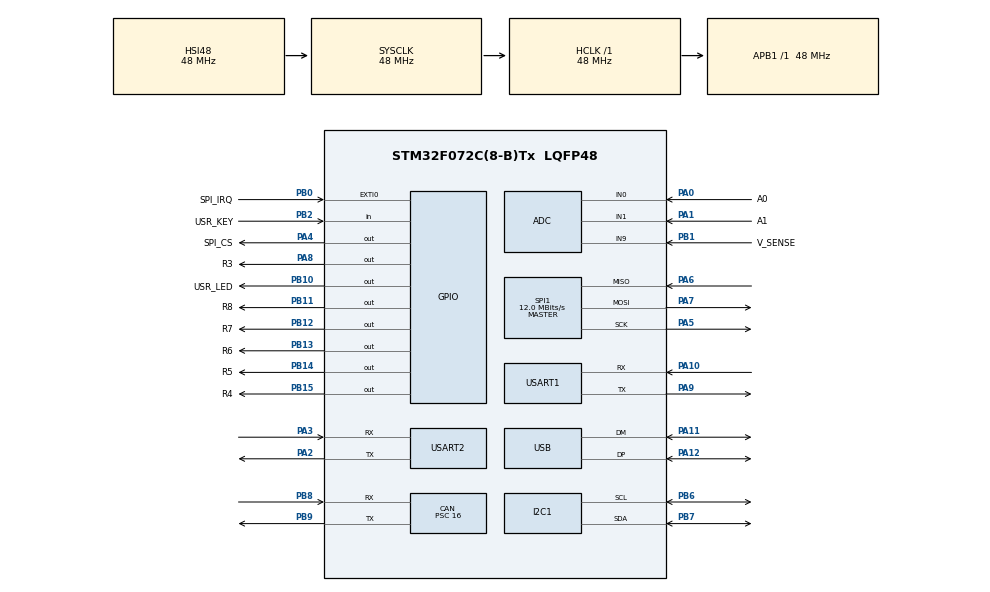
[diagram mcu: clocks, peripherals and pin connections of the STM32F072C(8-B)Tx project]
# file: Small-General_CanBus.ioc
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ADC.ContinuousConvMode=DISABLE
CAN.CalculateBaudRate=1000000
CAN.CalculateTimeBit=1000
CAN.CalculateTimeQuantum=333.3333333333333
CAN.Mode=CAN_MODE_NORMAL
CAN.Prescaler=16
CAN.TTCM=DISABLE
Mcu.Family=STM32F0
Mcu.Name=STM32F072C(8-B)Tx
Mcu.Package=LQFP48
NVIC.USB_IRQn=true\:0\:0\:false\:false\:true\:false\:true\:true
PA0.GPIO_Label=A0
PA0.Mode=IN0
PA0.Signal=ADC_IN0
PA1.GPIO_Label=A1
PA1.Mode=IN1
PA1.Signal=ADC_IN1
PA10.Mode=Asynchronous
PA10.Signal=USART1_RX
PA11.Mode=Device
PA11.Signal=USB_DM
PA12.Mode=Device
PA12.Signal=USB_DP
PA13.Mode=Serial_Wire
PA13.Signal=SYS_SWDIO
PA14.Mode=Serial_Wire
PA14.Signal=SYS_SWCLK
PA2.Mode=Asynchronous
PA2.Signal=USART2_TX
PA3.Mode=Asynchronous
PA3.Signal=USART2_RX
PA4.GPIO_Label=SPI_CS
PA4.GPIO_PuPd=GPIO_PULLUP
PA4.GPIO_Speed=GPIO_SPEED_FREQ_HIGH
PA4.PinState=GPIO_PIN_SET
PA4.Signal=GPIO_Output
PA5.Mode=Full_Duplex_Master
PA5.Signal=SPI1_SCK
PA6.Mode=Full_Duplex_Master
PA6.Signal=SPI1_MISO
PA7.Mode=Full_Duplex_Master
PA7.Signal=SPI1_MOSI
PA8.GPIO_Label=R3
PA8.Signal=GPIO_Output
PA9.Mode=Asynchronous
PA9.Signal=USART1_TX
PB0.GPIO_Label=SPI_IRQ
PB0.GPIO_ModeDefaultEXTI=GPIO_MODE_IT_RISING_FALLING
PB0.Signal=GPXTI0
PB1.GPIO_Label=V_SENSE
PB1.Mode=IN9
PB1.Signal=ADC_IN9
PB10.GPIO_Label=USR_LED
PB10.GPIO_ModeDefaultOutputPP=GPIO_MODE_OUTPUT_OD
PB10.GPIO_PuPd=GPIO_NOPULL
PB10.Signal=GPIO_Output
PB11.GPIO_Label=R8
PB11.Signal=GPIO_Output
PB12.GPIO_Label=R7
PB12.Signal=GPIO_Output
PB13.GPIO_Label=R6
PB13.Signal=GPIO_Output
PB14.GPIO_Label=R5
PB14.Signal=GPIO_Output
PB15.GPIO_Label=R4
PB15.Signal=GPIO_Output
PB2.GPIO_Label=USR_KEY
PB2.Signal=GPIO_Input
PB6.Mode=I2C
PB6.Signal=I2C1_SCL
PB7.Mode=I2C
PB7.Signal=I2C1_SDA
PB8.Mode=CAN_Activate
PB8.Signal=CAN_RX
PB9.Mode=CAN_Activate
PB9.Signal=CAN_TX
ProjectManager.HeapSize=0x200
ProjectManager.StackSize=0x400
ProjectManager.TargetToolchain=STM32CubeIDE
RCC.AHBFreq_Value=48000000
RCC.APB1Freq_Value=48000000
RCC.APB1TimFreq_Value=48000000
RCC.HCLKFreq_Value=48000000
RCC.SYSCLKFreq_VALUE=48000000
RCC.SYSCLKSource=RCC_SYSCLKSOURCE_HSI48
SPI1.BaudRatePrescaler=SPI_BAUDRATEPRESCALER_4
SPI1.CalculateBaudRate=12.0 MBits/s
SPI1.Direction=SPI_DIRECTION_2LINES
SPI1.Mode=SPI_MODE_MASTER
SPI1.VirtualType=VM_MASTER
USART1.VirtualMode-Asynchronous=VM_ASYNC
USART2.VirtualMode-Asynchronous=VM_ASYNC
USB_DEVICE.CLASS_NAME_FS=CDC
USB_DEVICE.MANUFACTURER_STRING=NVF2
USB_DEVICE.PRODUCT_STRING_CDC_FS=Small-General
USB_DEVICE.VirtualMode=Cdc
USB_DEVICE.VirtualModeFS=Cdc_FS
VP_ADC_TempSens_Input.Mode=IN-TempSens
VP_USB_DEVICE_VS_USB_DEVICE_CDC_FS.Mode=CDC_FS
board=custom

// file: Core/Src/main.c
/* USER CODE BEGIN Header */
/**
 ******************************************************************************
 * @file           : main.c
 * @brief          : Main program body
 ******************************************************************************
 * @attention
 *
 * Copyright (c) 2024 STMicroelectronics.
 * All rights reserved.
 *
 * This software is licensed under terms that can be found in the LICENSE file
 * in the root directory of this software component.
 * If no LICENSE file comes with this software, it is provided AS-IS.
 *
 ******************************************************************************
 */
/* USER CODE END Header */
#include "main.h"
#include "usb_device.h"

/* USER CODE BEGIN Includes */

#include "usbd_cdc_if.h"

/* USER CODE END Includes */

ADC_HandleTypeDef hadc;

CAN_HandleTypeDef hcan;

I2C_HandleTypeDef hi2c1;

SPI_HandleTypeDef hspi1;

UART_HandleTypeDef huart1;
UART_HandleTypeDef huart2;

/* USER CODE BEGIN PV */

CAN_TxHeaderTypeDef canTxHeader;
CAN_RxHeaderTypeDef canRxHeader;
uint32_t canTxMailBox;

uint32_t rx_data[8];
uint32_t tx_data[8];

CAN_FilterTypeDef sFilterConfig;

/* USER CODE END PV */

void SystemClock_Config(void);
static void MX_GPIO_Init(void);
static void MX_ADC_Init(void);
static void MX_CAN_Init(void);
static void MX_I2C1_Init(void);
static void MX_SPI1_Init(void);
static void MX_USART1_UART_Init(void);
static void MX_USART2_UART_Init(void);

int main(void)
{

  /* MCU Configuration--------------------------------------------------------*/

  /* Reset of all peripherals, Initializes the Flash interface and the Systick. */
  HAL_Init();

  /* Configure the system clock */
  SystemClock_Config();

  /* Initialize all configured peripherals */
  MX_GPIO_Init();
  MX_ADC_Init();
  MX_CAN_Init();
  MX_I2C1_Init();
  MX_SPI1_Init();
  MX_USART1_UART_Init();
  MX_USART2_UART_Init();
  MX_USB_DEVICE_Init();
  /* USER CODE BEGIN 2 */

  canTxHeader.DLC = 1;
  canTxHeader.IDE = CAN_ID_STD;
  canTxHeader.RTR = CAN_RTR_DATA;
  canTxHeader.StdId = 0x244;

  sFilterConfig.FilterFIFOAssignment = CAN_FILTER_FIFO0; // set fifo assignment
  sFilterConfig.FilterIdHigh =0xFF;               // the ID that the filter looks for (switch this for the other microcontroller)
  sFilterConfig.FilterIdLow = 0X00;
  sFilterConfig.FilterMaskIdHigh = 0;
  sFilterConfig.FilterMaskIdLow = 0;
  sFilterConfig.FilterScale = CAN_FILTERSCALE_32BIT; // set filter scale
  sFilterConfig.FilterActivation = ENABLE;

  HAL_CAN_ConfigFilter(&hcan, &canRxFilterConfig);

  HAL_CAN_Start(&hcan);
//  HAL_CAN_ActivateNotification(&hcan, CAN_IT_RX_FIFO0_MSG_PENDING);

  /* USER CODE END 2 */

  /* Infinite loop */
  while (1)
  {

	  if (HAL)

  }
}

void SystemClock_Config(void)
{
  RCC_OscInitTypeDef RCC_OscInitStruct = {0};
  RCC_ClkInitTypeDef RCC_ClkInitStruct = {0};
  RCC_PeriphCLKInitTypeDef PeriphClkInit = {0};

  /** Initializes the RCC Oscillators according to the specified parameters
   * in the RCC_OscInitTypeDef structure.
   */
  RCC_OscInitStruct.OscillatorType = RCC_OSCILLATORTYPE_HSI | RCC_OSCILLATORTYPE_HSI14 | RCC_OSCILLATORTYPE_HSI48;
  RCC_OscInitStruct.HSIState = RCC_HSI_ON;
  RCC_OscInitStruct.HSI48State = RCC_HSI48_ON;
  RCC_OscInitStruct.HSI14State = RCC_HSI14_ON;
  RCC_OscInitStruct.HSICalibrationValue = RCC_HSICALIBRATION_DEFAULT;
  RCC_OscInitStruct.HSI14CalibrationValue = 16;
  RCC_OscInitStruct.PLL.PLLState = RCC_PLL_NONE;
  if (HAL_RCC_OscConfig(&RCC_OscInitStruct) != HAL_OK)
  {
    Error_Handler();
  }

  /** Initializes the CPU, AHB and APB buses clocks
   */
  RCC_ClkInitStruct.ClockType = RCC_CLOCKTYPE_HCLK | RCC_CLOCKTYPE_SYSCLK | RCC_CLOCKTYPE_PCLK1;
  RCC_ClkInitStruct.SYSCLKSource = RCC_SYSCLKSOURCE_HSI48;
  RCC_ClkInitStruct.AHBCLKDivider = RCC_SYSCLK_DIV1;
  RCC_ClkInitStruct.APB1CLKDivider = RCC_HCLK_DIV1;

  if (HAL_RCC_ClockConfig(&RCC_ClkInitStruct, FLASH_LATENCY_1) != HAL_OK)
  {
    Error_Handler();
  }
  PeriphClkInit.PeriphClockSelection = RCC_PERIPHCLK_USB | RCC_PERIPHCLK_USART1 | RCC_PERIPHCLK_USART2 | RCC_PERIPHCLK_I2C1;
  PeriphClkInit.Usart1ClockSelection = RCC_USART1CLKSOURCE_PCLK1;
  PeriphClkInit.Usart2ClockSelection = RCC_USART2CLKSOURCE_PCLK1;
  PeriphClkInit.I2c1ClockSelection = RCC_I2C1CLKSOURCE_HSI;
  PeriphClkInit.UsbClockSelection = RCC_USBCLKSOURCE_HSI48;

  if (HAL_RCCEx_PeriphCLKConfig(&PeriphClkInit) != HAL_OK)
  {
    Error_Handler();
  }
}

static void MX_ADC_Init(void)
{

  ADC_ChannelConfTypeDef sConfig = {0};

  /** Configure the global features of the ADC (Clock, Resolution, Data Alignment and number of conversion)
   */
  hadc.Instance = ADC1;
  hadc.Init.ClockPrescaler = ADC_CLOCK_ASYNC_DIV1;
  hadc.Init.Resolution = ADC_RESOLUTION_12B;
  hadc.Init.DataAlign = ADC_DATAALIGN_RIGHT;
  hadc.Init.ScanConvMode = ADC_SCAN_DIRECTION_FORWARD;
  hadc.Init.EOCSelection = ADC_EOC_SINGLE_CONV;
  hadc.Init.LowPowerAutoWait = DISABLE;
  hadc.Init.LowPowerAutoPowerOff = DISABLE;
  hadc.Init.ContinuousConvMode = DISABLE;
  hadc.Init.DiscontinuousConvMode = DISABLE;
  hadc.Init.ExternalTrigConv = ADC_SOFTWARE_START;
  hadc.Init.ExternalTrigConvEdge = ADC_EXTERNALTRIGCONVEDGE_NONE;
  hadc.Init.DMAContinuousRequests = DISABLE;
  hadc.Init.Overrun = ADC_OVR_DATA_PRESERVED;
  if (HAL_ADC_Init(&hadc) != HAL_OK)
  {
    Error_Handler();
  }

  /** Configure for the selected ADC regular channel to be converted.
   */
  sConfig.Channel = ADC_CHANNEL_0;
  sConfig.Rank = ADC_RANK_CHANNEL_NUMBER;
  sConfig.SamplingTime = ADC_SAMPLETIME_1CYCLE_5;
  if (HAL_ADC_ConfigChannel(&hadc, &sConfig) != HAL_OK)
  {
    Error_Handler();
  }

  /** Configure for the selected ADC regular channel to be converted.
   */
  sConfig.Channel = ADC_CHANNEL_1;
  if (HAL_ADC_ConfigChannel(&hadc, &sConfig) != HAL_OK)
  {
    Error_Handler();
  }

  /** Configure for the selected ADC regular channel to be converted.
   */
  sConfig.Channel = ADC_CHANNEL_9;
  if (HAL_ADC_ConfigChannel(&hadc, &sConfig) != HAL_OK)
  {
    Error_Handler();
  }

  /** Configure for the selected ADC regular channel to be converted.
   */
  sConfig.Channel = ADC_CHANNEL_TEMPSENSOR;
  if (HAL_ADC_ConfigChannel(&hadc, &sConfig) != HAL_OK)
  {
    Error_Handler();
  }
}

static void MX_CAN_Init(void)
{

  hcan.Instance = CAN;
  hcan.Init.Prescaler = 16;
  hcan.Init.Mode = CAN_MODE_NORMAL;
  hcan.Init.SyncJumpWidth = CAN_SJW_1TQ;
  hcan.Init.TimeSeg1 = CAN_BS1_1TQ;
  hcan.Init.TimeSeg2 = CAN_BS2_1TQ;
  hcan.Init.TimeTriggeredMode = DISABLE;
  hcan.Init.AutoBusOff = DISABLE;
  hcan.Init.AutoWakeUp = DISABLE;
  hcan.Init.AutoRetransmission = DISABLE;
  hcan.Init.ReceiveFifoLocked = DISABLE;
  hcan.Init.TransmitFifoPriority = DISABLE;
  if (HAL_CAN_Init(&hcan) != HAL_OK)
  {
    Error_Handler();
  }
}

static void MX_I2C1_Init(void)
{

  hi2c1.Instance = I2C1;
  hi2c1.Init.Timing = 0x2000090E;
  hi2c1.Init.OwnAddress1 = 0;
  hi2c1.Init.AddressingMode = I2C_ADDRESSINGMODE_7BIT;
  hi2c1.Init.DualAddressMode = I2C_DUALADDRESS_DISABLE;
  hi2c1.Init.OwnAddress2 = 0;
  hi2c1.Init.OwnAddress2Masks = I2C_OA2_NOMASK;
  hi2c1.Init.GeneralCallMode = I2C_GENERALCALL_DISABLE;
  hi2c1.Init.NoStretchMode = I2C_NOSTRETCH_DISABLE;
  if (HAL_I2C_Init(&hi2c1) != HAL_OK)
  {
    Error_Handler();
  }

  /** Configure Analogue filter
   */
  if (HAL_I2CEx_ConfigAnalogFilter(&hi2c1, I2C_ANALOGFILTER_ENABLE) != HAL_OK)
  {
    Error_Handler();
  }

  /** Configure Digital filter
   */
  if (HAL_I2CEx_ConfigDigitalFilter(&hi2c1, 0) != HAL_OK)
  {
    Error_Handler();
  }
}

static void MX_SPI1_Init(void)
{

  /* SPI1 parameter configuration*/
  hspi1.Instance = SPI1;
  hspi1.Init.Mode = SPI_MODE_MASTER;
  hspi1.Init.Direction = SPI_DIRECTION_2LINES;
  hspi1.Init.DataSize = SPI_DATASIZE_4BIT;
  hspi1.Init.CLKPolarity = SPI_POLARITY_LOW;
  hspi1.Init.CLKPhase = SPI_PHASE_1EDGE;
  hspi1.Init.NSS = SPI_NSS_SOFT;
  hspi1.Init.BaudRatePrescaler = SPI_BAUDRATEPRESCALER_4;
  hspi1.Init.FirstBit = SPI_FIRSTBIT_MSB;
  hspi1.Init.TIMode = SPI_TIMODE_DISABLE;
  hspi1.Init.CRCCalculation = SPI_CRCCALCULATION_DISABLE;
  hspi1.Init.CRCPolynomial = 7;
  hspi1.Init.CRCLength = SPI_CRC_LENGTH_DATASIZE;
  hspi1.Init.NSSPMode = SPI_NSS_PULSE_ENABLE;
  if (HAL_SPI_Init(&hspi1) != HAL_OK)
  {
    Error_Handler();
  }
}

static void MX_USART1_UART_Init(void)
{

  huart1.Instance = USART1;
  huart1.Init.BaudRate = 38400;
  huart1.Init.WordLength = UART_WORDLENGTH_8B;
  huart1.Init.StopBits = UART_STOPBITS_1;
  huart1.Init.Parity = UART_PARITY_NONE;
  huart1.Init.Mode = UART_MODE_TX_RX;
  huart1.Init.HwFlowCtl = UART_HWCONTROL_NONE;
  huart1.Init.OverSampling = UART_OVERSAMPLING_16;
  huart1.Init.OneBitSampling = UART_ONE_BIT_SAMPLE_DISABLE;
  huart1.AdvancedInit.AdvFeatureInit = UART_ADVFEATURE_NO_INIT;
  if (HAL_UART_Init(&huart1) != HAL_OK)
  {
    Error_Handler();
  }
}

static void MX_USART2_UART_Init(void)
{

  huart2.Instance = USART2;
  huart2.Init.BaudRate = 38400;
  huart2.Init.WordLength = UART_WORDLENGTH_8B;
  huart2.Init.StopBits = UART_STOPBITS_1;
  huart2.Init.Parity = UART_PARITY_NONE;
  huart2.Init.Mode = UART_MODE_TX_RX;
  huart2.Init.HwFlowCtl = UART_HWCONTROL_NONE;
  huart2.Init.OverSampling = UART_OVERSAMPLING_16;
  huart2.Init.OneBitSampling = UART_ONE_BIT_SAMPLE_DISABLE;
  huart2.AdvancedInit.AdvFeatureInit = UART_ADVFEATURE_NO_INIT;
  if (HAL_UART_Init(&huart2) != HAL_OK)
  {
    Error_Handler();
  }
}

static void MX_GPIO_Init(void)
{
  GPIO_InitTypeDef GPIO_InitStruct = {0};

  /* GPIO Ports Clock Enable */
  __HAL_RCC_GPIOA_CLK_ENABLE();
  __HAL_RCC_GPIOB_CLK_ENABLE();

  /*Configure GPIO pin Output Level */
  HAL_GPIO_WritePin(SPI_CS_GPIO_Port, SPI_CS_Pin, GPIO_PIN_SET);

  /*Configure GPIO pin Output Level */
  HAL_GPIO_WritePin(GPIOB, USR_LED_Pin | R8_Pin | R7_Pin | R6_Pin | R5_Pin | R4_Pin, GPIO_PIN_RESET);

  /*Configure GPIO pin Output Level */
  HAL_GPIO_WritePin(R3_GPIO_Port, R3_Pin, GPIO_PIN_RESET);

  /*Configure GPIO pin : SPI_CS_Pin */
  GPIO_InitStruct.Pin = SPI_CS_Pin;
  GPIO_InitStruct.Mode = GPIO_MODE_OUTPUT_PP;
  GPIO_InitStruct.Pull = GPIO_PULLUP;
  GPIO_InitStruct.Speed = GPIO_SPEED_FREQ_HIGH;
  HAL_GPIO_Init(SPI_CS_GPIO_Port, &GPIO_InitStruct);

  /*Configure GPIO pin : SPI_IRQ_Pin */
  GPIO_InitStruct.Pin = SPI_IRQ_Pin;
  GPIO_InitStruct.Mode = GPIO_MODE_IT_RISING_FALLING;
  GPIO_InitStruct.Pull = GPIO_NOPULL;
  HAL_GPIO_Init(SPI_IRQ_GPIO_Port, &GPIO_InitStruct);

  /*Configure GPIO pin : USR_KEY_Pin */
  GPIO_InitStruct.Pin = USR_KEY_Pin;
  GPIO_InitStruct.Mode = GPIO_MODE_INPUT;
  GPIO_InitStruct.Pull = GPIO_NOPULL;
  HAL_GPIO_Init(USR_KEY_GPIO_Port, &GPIO_InitStruct);

  /*Configure GPIO pin : USR_LED_Pin */
  GPIO_InitStruct.Pin = USR_LED_Pin;
  GPIO_InitStruct.Mode = GPIO_MODE_OUTPUT_OD;
  GPIO_InitStruct.Pull = GPIO_NOPULL;
  GPIO_InitStruct.Speed = GPIO_SPEED_FREQ_LOW;
  HAL_GPIO_Init(USR_LED_GPIO_Port, &GPIO_InitStruct);

  /*Configure GPIO pins : R8_Pin R7_Pin R6_Pin R5_Pin
                           R4_Pin */
  GPIO_InitStruct.Pin = R8_Pin | R7_Pin | R6_Pin | R5_Pin | R4_Pin;
  GPIO_InitStruct.Mode = GPIO_MODE_OUTPUT_PP;
  GPIO_InitStruct.Pull = GPIO_NOPULL;
  GPIO_InitStruct.Speed = GPIO_SPEED_FREQ_LOW;
  HAL_GPIO_Init(GPIOB, &GPIO_InitStruct);

  /*Configure GPIO pin : R3_Pin */
  GPIO_InitStruct.Pin = R3_Pin;
  GPIO_InitStruct.Mode = GPIO_MODE_OUTPUT_PP;
  GPIO_InitStruct.Pull = GPIO_NOPULL;
  GPIO_InitStruct.Speed = GPIO_SPEED_FREQ_LOW;
  HAL_GPIO_Init(R3_GPIO_Port, &GPIO_InitStruct);

}

void Error_Handler(void)
{
  __disable_irq();
  while (1)
  {
  }
}
